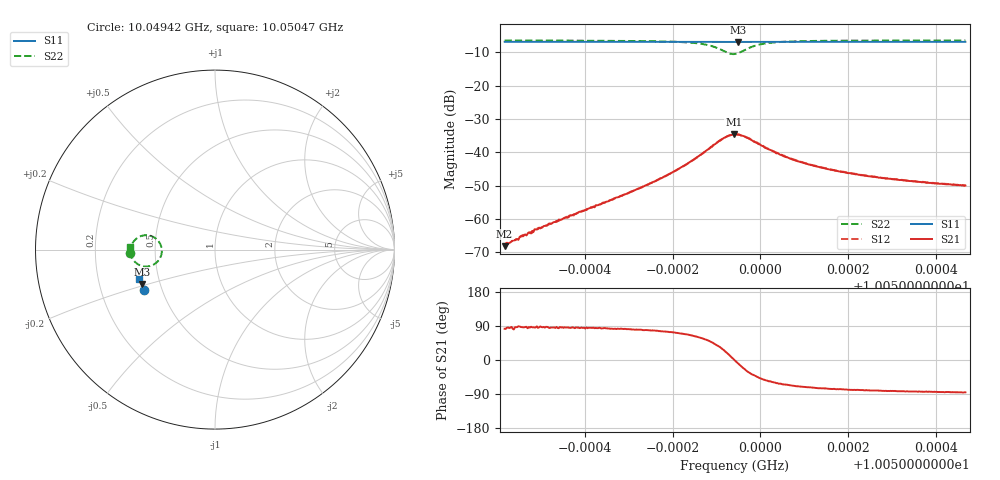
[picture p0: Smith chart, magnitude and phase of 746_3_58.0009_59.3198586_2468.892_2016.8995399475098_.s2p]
#  HZ  S  RI  R  50.00
! Rohde & Schwarz Vector Network Analyzer
! Rohde-Schwarz,ZNB20-2Port,1311601062101988,3.16
! Created: UTC 3/21/2024, 1:23:48 AM
! freq[Hz]  re:S11  im:S11  re:S21  im:S21  re:S12  im:S12  re:S22  im:S22
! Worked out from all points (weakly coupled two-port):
!   401 points, 10.04942 GHz to 10.05047 GHz, reference 50 ohm
!   highest |S21| = -34.65 dB at 10.04994 GHz (marker M1); lowest = -68.2 dB at 10.04942 GHz (marker M2)
!   lowest |S11| = -6.9 dB at 10.04995 GHz (marker M3), VSWR 2.64, Z = 19.7 - j9.58 ohm
!   |S11| at or under -10 dB: nowhere
!   |S22| runs from -10.6 to -6.5 dB; largest |S21 - S12| = 0.0016
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1.0049418e10  -0.3943 -0.2247  5.24e-05 0.000387  3.73e-06 0.000389  -0.4739 -0.0199
1.0049447e10  -0.3952 -0.2232  2.77e-05 0.000496  -2.61e-06 0.000504  -0.4738 -0.0169
1.0049457e10  -0.3956 -0.2224  3.25e-05 0.000559  -1.79e-05 0.000545  -0.4738 -0.016
1.0049481e10  -0.3962 -0.2211  4.34e-05 0.000659  -2.51e-05 0.000616  -0.4737 -0.0136
1.0049491e10  -0.3965 -0.2204  1.61e-05 0.000692  -1.42e-05 0.000705  -0.4734 -0.0124
1.0049594e10  -0.3998 -0.2143  9.78e-05 0.00128  -6.97e-07 0.00131  -0.4721 6.64e-05
1.0049704e10  -0.4028 -0.2076  0.00038 0.00248  0.000265 0.0025  -0.4676 0.0182
1.0049769e10  -0.4048 -0.2037  0.000938 0.00381  0.000721 0.00385  -0.4606 0.0346
1.0049829e10  -0.4062 -0.1998  0.00242 0.00597  0.00207 0.00612  -0.4428 0.057
1.0049866e10  -0.407 -0.1973  0.00499 0.00794  0.00446 0.00817  -0.4154 0.0742
1.0049895e10  -0.4073 -0.1955  0.00953 0.00886  0.00879 0.00952  -0.372 0.0795
1.0049921e10  -0.4075 -0.1942  0.0158 0.00616  0.0152 0.00742  -0.3156 0.0478
1.004994e10  -0.4075 -0.1936  0.0185 0.000441  0.0183 0.00195  -0.2962 -0.00898
1.0049942e10  -0.4075 -0.1936  0.0185 -0.000434  0.0184 0.000963  -0.2969 -0.0179
1.004995e10  -0.4075 -0.1933  0.018 -0.00317  0.0184 -0.00164  -0.3045 -0.0437
1.0049976e10  -0.4088 -0.1924  0.0129 -0.00884  0.0138 -0.00797  -0.3604 -0.0911
1.005001e10  -0.4103 -0.1904  0.00705 -0.00931  0.00785 -0.00898  -0.4181 -0.0874
1.0050063e10  -0.4121 -0.1873  0.0034 -0.00757  0.00387 -0.00742  -0.4531 -0.0607
1.0050118e10  -0.4136 -0.1838  0.00188 -0.00608  0.00224 -0.00602  -0.4652 -0.0404
1.0050196e10  -0.4157 -0.179  0.00103 -0.0048  0.00131 -0.00478  -0.4712 -0.0217
1.0050293e10  -0.418 -0.173  0.000561 -0.00396  0.000836 -0.00393  -0.4739 -0.00622
1.0050466e10  -0.4221 -0.1625  0.000261 -0.00315  0.000453 -0.00312  -0.4749 0.0134
